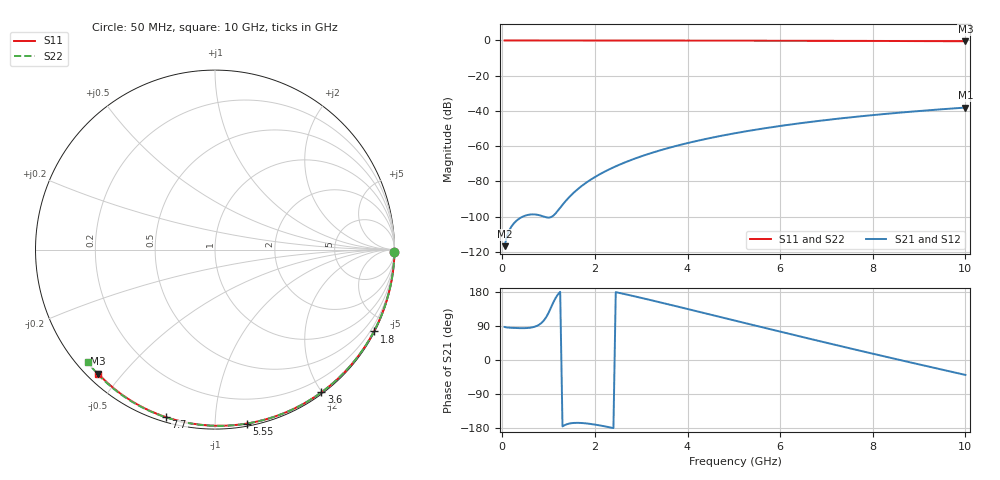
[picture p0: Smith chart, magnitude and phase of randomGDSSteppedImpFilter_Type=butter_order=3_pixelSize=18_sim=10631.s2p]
! freq	dB(S11)	phase(S11)	dB(S12)	phase(S12)
!  dB(S21)	phase(S21)	dB(S22)	phase(S22)
!S-par simulation data
#  GHz  S  DB  R 50
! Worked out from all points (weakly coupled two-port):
!   200 points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, 50 MHz to 10 GHz, reference 50 ohm
!   highest |S21| = -38.08 dB at 10 GHz (marker M1); lowest = -116.7 dB at 50 MHz (marker M2)
!   lowest |S11| = -0.5 dB at 10 GHz (marker M3), VSWR 38.56, Z = 1.54 - j21.6 ohm
!   |S11| at or under -10 dB: nowhere
!   |S22| runs from -0.5 to 0.0 dB; largest |S21 - S12| = 0
!   S11 on the Smith chart (normalised r, x): 50 MHz: open; 1.8 GHz: 0.04, -4.12; 3.6 GHz: 0.02, -1.99; 5.55 GHz: 0.02, -1.20; 7.7 GHz: 0.02, -0.75; 10 GHz: 0.03, -0.43
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0.05  -0.00 -0.8  -116.74 87.1  -116.74 87.1  -0.00 -0.8
0.45  -0.01 -6.9  -99.88 84.0  -99.88 84.0  -0.01 -7.2
0.9  -0.02 -13.8  -99.98 104.7  -99.98 104.7  -0.02 -14.3
1.75  -0.03 -26.5  -81.88 -166.6  -81.88 -166.6  -0.04 -27.6
1.8  -0.03 -27.3  -80.92 -167.2  -80.92 -167.2  -0.04 -28.4
1.85  -0.04 -28.0  -80.02 -167.9  -80.02 -167.9  -0.04 -29.2
2.15  -0.04 -32.4  -75.28 -173.6  -75.28 -173.6  -0.04 -33.8
2.35  -0.05 -35.4  -72.63 -178.4  -72.63 -178.4  -0.05 -36.9
2.55  -0.05 -38.3  -70.27 176.4  -70.27 176.4  -0.05 -39.9
2.95  -0.06 -44.1  -66.22 165.4  -66.22 165.4  -0.06 -45.9
3.4  -0.07 -50.5  -62.42 152.4  -62.42 152.4  -0.07 -52.6
3.6  -0.07 -53.3  -60.93 146.5  -60.93 146.5  -0.07 -55.5
3.9  -0.08 -57.5  -58.88 137.6  -58.88 137.6  -0.08 -59.8
4.3  -0.09 -63.0  -56.43 125.7  -56.43 125.7  -0.09 -65.5
5.05  -0.11 -73.0  -52.53 103.2  -52.53 103.2  -0.12 -76.0
5.55  -0.13 -79.6  -50.31 88.3  -50.31 88.3  -0.14 -82.8
6.1  -0.15 -86.6  -48.16 71.9  -48.16 71.9  -0.16 -90.1
6.7  -0.18 -94.1  -46.08 54.2  -46.08 54.2  -0.19 -97.9
7.7  -0.24 -106.3  -43.14 25.2  -43.14 25.2  -0.25 -110.5
8.35  -0.29 -114.0  -41.50 6.7  -41.50 6.7  -0.30 -118.5
9.2  -0.37 -123.9  -39.63 -17.2  -39.63 -17.2  -0.38 -128.8
10  -0.45 -133.2  -38.08 -39.3  -38.08 -39.3  -0.47 -138.5
